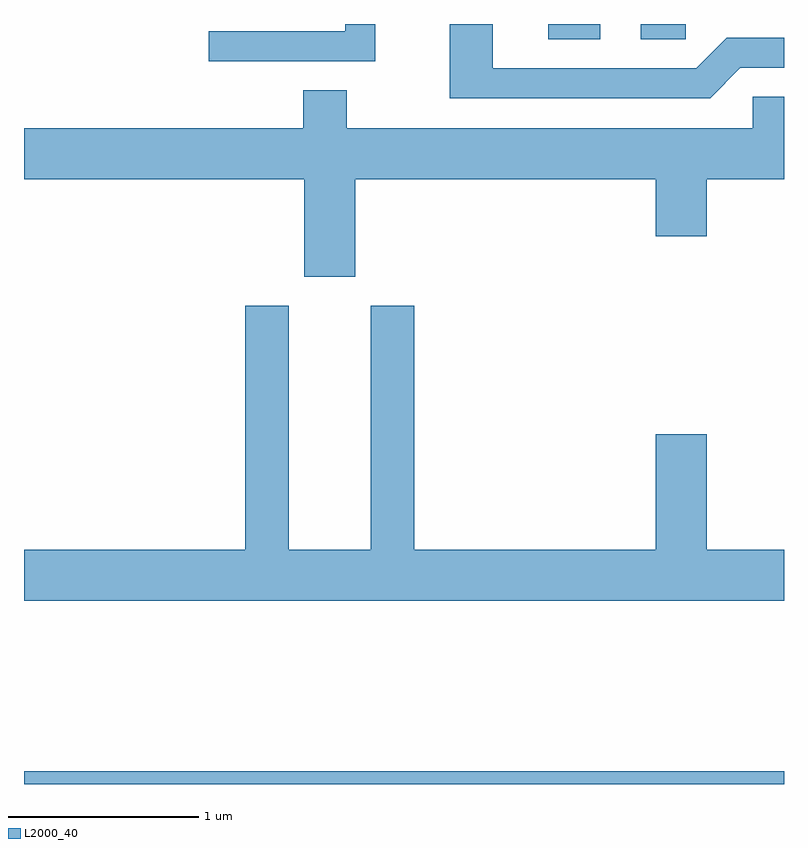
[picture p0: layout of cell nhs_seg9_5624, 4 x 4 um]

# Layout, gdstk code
import gdstk
lib = gdstk.Library(unit=1e-6, precision=1e-09)
def R(c, l, rs):  # rectangles x0, y0, x1, y1
    for r in rs: c.add(gdstk.rectangle(r[:2], r[2:], *l))
def P(c, l, *ps):  # polygons
    for p in ps: c.add(gdstk.Polygon(p, *l))
L2000_40 = (2000, 40)

nhs_seg9_5624 = lib.new_cell('nhs_seg9_5624')
R(nhs_seg9_5624, L2000_40, [(351.611,1966.432,355.611,1966.499), (354.371,1970.351,354.643,1970.432), (354.856,1970.351,355.093,1970.432)])
P(nhs_seg9_5624, L2000_40, [(355.382,1970.201),(355.611,1970.201),(355.611,1970.359),(355.309,1970.359),(355.149,1970.199),(354.079,1970.199),(354.079,1970.432),(353.851,1970.432),(353.851,1970.041),(355.222,1970.041)],
  [(353.459,1970.432),(353.301,1970.432),(353.301,1970.394),(352.583,1970.394),(352.583,1970.236),(353.459,1970.236)],
  [(353.354,1969.616),(354.936,1969.616),(354.936,1969.316),(355.204,1969.316),(355.204,1969.616),(355.611,1969.616),(355.611,1970.049),(355.446,1970.049),(355.446,1969.884),(353.309,1969.884),(353.309,1970.084),(353.081,1970.084),(353.081,1969.884),(351.611,1969.884),(351.611,1969.616),(353.086,1969.616),(353.086,1969.101),(353.354,1969.101)],
  [(355.611,1967.664),(355.204,1967.664),(355.204,1968.274),(354.936,1968.274),(354.936,1967.664),(353.664,1967.664),(353.664,1968.949),(353.436,1968.949),(353.436,1967.664),(353.004,1967.664),(353.004,1968.949),(352.776,1968.949),(352.776,1967.664),(351.611,1967.664),(351.611,1967.396),(355.611,1967.396)])

lib.write_gds('nhs_seg9_5624.gds')
